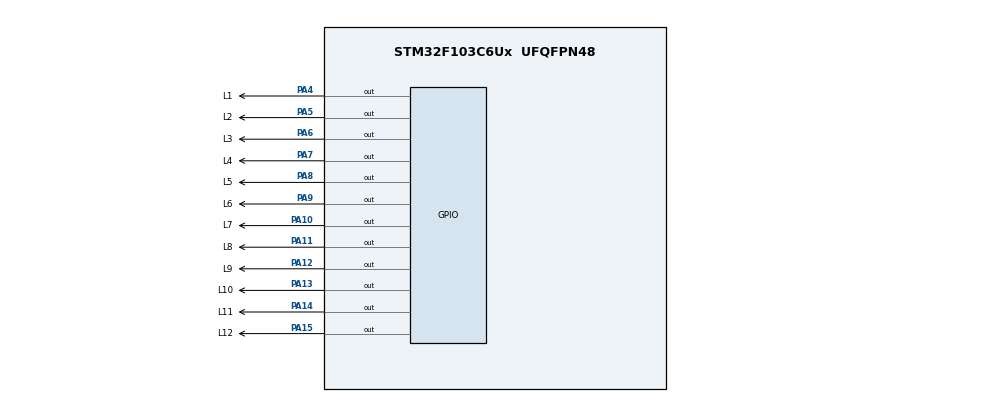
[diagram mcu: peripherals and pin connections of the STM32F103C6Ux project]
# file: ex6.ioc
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Mcu.Family=STM32F1
Mcu.Name=STM32F103C6Ux
Mcu.Package=UFQFPN48
NVIC.PriorityGroup=NVIC_PRIORITYGROUP_4
PA10.GPIO_Label=L7
PA10.Signal=GPIO_Output
PA11.GPIO_Label=L8
PA11.Signal=GPIO_Output
PA12.GPIO_Label=L9
PA12.Signal=GPIO_Output
PA13.GPIO_Label=L10
PA13.Signal=GPIO_Output
PA14.GPIO_Label=L11
PA14.Signal=GPIO_Output
PA15.GPIO_Label=L12
PA15.Signal=GPIO_Output
PA4.GPIO_Label=L1
PA4.Signal=GPIO_Output
PA5.GPIO_Label=L2
PA5.Signal=GPIO_Output
PA6.GPIO_Label=L3
PA6.Signal=GPIO_Output
PA7.GPIO_Label=L4
PA7.Signal=GPIO_Output
PA8.GPIO_Label=L5
PA8.Signal=GPIO_Output
PA9.GPIO_Label=L6
PA9.Signal=GPIO_Output
ProjectManager.HeapSize=0x200
ProjectManager.StackSize=0x400
ProjectManager.TargetToolchain=STM32CubeIDE
RCC.APB1Freq_Value=8000000
RCC.APB2Freq_Value=8000000
VP_SYS_VS_ND.Mode=No_Debug
board=custom

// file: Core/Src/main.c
/* USER CODE BEGIN Header */
/**
  ******************************************************************************
  * @file           : main.c
  * @brief          : Main program body
  ******************************************************************************
  * @attention
  *
  * <h2><center>&copy; Copyright (c) 2025 STMicroelectronics.
  * All rights reserved.</center></h2>
  *
  * This software component is licensed by ST under BSD 3-Clause license,
  * the "License"; You may not use this file except in compliance with the
  * License. You may obtain a copy of the License at:
  *                        opensource.org/licenses/BSD-3-Clause
  *
  ******************************************************************************
  */
/* USER CODE END Header */
#include "main.h"

void SystemClock_Config(void);
static void MX_GPIO_Init(void);
/* USER CODE BEGIN PFP */
uint16_t ledPin[12] = {GPIO_PIN_4, GPIO_PIN_5, GPIO_PIN_6,
		  	  	  	  	 GPIO_PIN_7, GPIO_PIN_8, GPIO_PIN_9,
						 GPIO_PIN_10, GPIO_PIN_11, GPIO_PIN_12,
						 GPIO_PIN_13, GPIO_PIN_14, GPIO_PIN_15 };

void clearAllClock(){
	HAL_GPIO_WritePin(GPIOA, GPIO_PIN_4 | GPIO_PIN_5 |
				          GPIO_PIN_6 | GPIO_PIN_7 | GPIO_PIN_8 |
						  GPIO_PIN_9 | GPIO_PIN_10 | GPIO_PIN_11 |
						  GPIO_PIN_12 | GPIO_PIN_13 | GPIO_PIN_14 |
						  GPIO_PIN_15 , SET);
}
void testLed(int n){
	clearAllClock();
	HAL_GPIO_WritePin ( GPIOA , ledPin [n], RESET) ;
}
void setNumberOnClock (int num){
	HAL_GPIO_WritePin(GPIOA, ledPin[num], RESET);
}
/* USER CODE END PFP */

int main(void)
{

  /* MCU Configuration--------------------------------------------------------*/

  /* Reset of all peripherals, Initializes the Flash interface and the Systick. */
  HAL_Init();

  /* Configure the system clock */
  SystemClock_Config();

  /* Initialize all configured peripherals */
  MX_GPIO_Init();

  /* Infinite loop */
  /* USER CODE BEGIN WHILE */
  int n = 0;
  while (1)
  {
	  if(n == 0) clearAllClock();
	  setNumberOnClock(n);
	  n++;
	  if(n >= 12) n = 0;
	  HAL_Delay(1000);
    /* USER CODE END WHILE */

  }
}

void SystemClock_Config(void)
{
  RCC_OscInitTypeDef RCC_OscInitStruct = {0};
  RCC_ClkInitTypeDef RCC_ClkInitStruct = {0};

  /** Initializes the RCC Oscillators according to the specified parameters
  * in the RCC_OscInitTypeDef structure.
  */
  RCC_OscInitStruct.OscillatorType = RCC_OSCILLATORTYPE_HSI;
  RCC_OscInitStruct.HSIState = RCC_HSI_ON;
  RCC_OscInitStruct.HSICalibrationValue = RCC_HSICALIBRATION_DEFAULT;
  RCC_OscInitStruct.PLL.PLLState = RCC_PLL_NONE;
  if (HAL_RCC_OscConfig(&RCC_OscInitStruct) != HAL_OK)
  {
    Error_Handler();
  }
  /** Initializes the CPU, AHB and APB buses clocks
  */
  RCC_ClkInitStruct.ClockType = RCC_CLOCKTYPE_HCLK|RCC_CLOCKTYPE_SYSCLK
                              |RCC_CLOCKTYPE_PCLK1|RCC_CLOCKTYPE_PCLK2;
  RCC_ClkInitStruct.SYSCLKSource = RCC_SYSCLKSOURCE_HSI;
  RCC_ClkInitStruct.AHBCLKDivider = RCC_SYSCLK_DIV1;
  RCC_ClkInitStruct.APB1CLKDivider = RCC_HCLK_DIV1;
  RCC_ClkInitStruct.APB2CLKDivider = RCC_HCLK_DIV1;

  if (HAL_RCC_ClockConfig(&RCC_ClkInitStruct, FLASH_LATENCY_0) != HAL_OK)
  {
    Error_Handler();
  }
}

static void MX_GPIO_Init(void)
{
  GPIO_InitTypeDef GPIO_InitStruct = {0};

  /* GPIO Ports Clock Enable */
  __HAL_RCC_GPIOA_CLK_ENABLE();

  /*Configure GPIO pin Output Level */
  HAL_GPIO_WritePin(GPIOA, L1_Pin|L2_Pin|L3_Pin|L4_Pin
                          |L5_Pin|L6_Pin|L7_Pin|L8_Pin
                          |L9_Pin|L10_Pin|L11_Pin|L12_Pin, GPIO_PIN_RESET);

  /*Configure GPIO pins : L1_Pin L2_Pin L3_Pin L4_Pin
                           L5_Pin L6_Pin L7_Pin L8_Pin
                           L9_Pin L10_Pin L11_Pin L12_Pin */
  GPIO_InitStruct.Pin = L1_Pin|L2_Pin|L3_Pin|L4_Pin
                          |L5_Pin|L6_Pin|L7_Pin|L8_Pin
                          |L9_Pin|L10_Pin|L11_Pin|L12_Pin;
  GPIO_InitStruct.Mode = GPIO_MODE_OUTPUT_PP;
  GPIO_InitStruct.Pull = GPIO_NOPULL;
  GPIO_InitStruct.Speed = GPIO_SPEED_FREQ_LOW;
  HAL_GPIO_Init(GPIOA, &GPIO_InitStruct);

}

void Error_Handler(void)
{
  __disable_irq();
  while (1)
  {
  }
}

/************************ (C) COPYRIGHT STMicroelectronics *****END OF FILE****/
